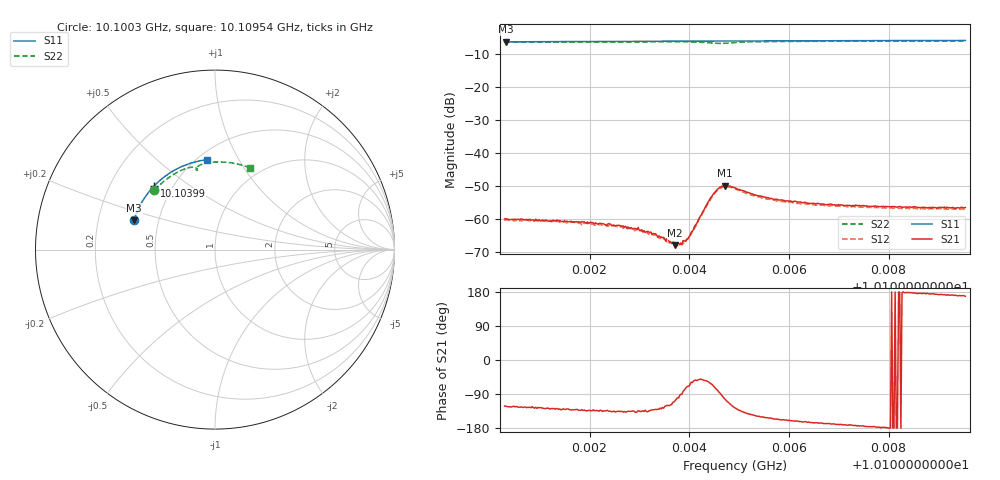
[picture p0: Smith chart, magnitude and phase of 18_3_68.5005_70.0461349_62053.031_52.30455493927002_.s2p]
#  HZ  S  RI  R  50.00
! Rohde & Schwarz Vector Network Analyzer
! Rohde-Schwarz,ZNB20-2Port,1311601062101988,3.16
! Created: UTC 3/20/2024, 5:04:34 PM
! freq[Hz]  re:S11  im:S11  re:S21  im:S21  re:S12  im:S12  re:S22  im:S22
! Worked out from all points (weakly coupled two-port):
!   401 points, 10.1003 GHz to 10.10954 GHz, reference 50 ohm
!   highest |S21| = -49.89 dB at 10.10471 GHz (marker M1); lowest = -67.9 dB at 10.10372 GHz (marker M2)
!   lowest |S11| = -6.4 dB at 10.10032 GHz (marker M3), VSWR 2.84, Z = 18.1 + j7.7 ohm
!   |S11| at or under -10 dB: nowhere
!   |S22| runs from -6.9 to -6.1 dB; largest |S21 - S12| = 0.00033
!   S11 on the Smith chart (normalised r, x): 10.1003 GHz: 0.36, +0.15; 10.10399 GHz: 0.40, +0.37; 10.10954 GHz: 0.56, +0.75
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1.0100297e10  -0.4509 0.1628  -0.000531 -0.000858  -0.000445 -0.000834  -0.3377 0.3298
1.010032e10  -0.4504 0.1641  -0.000524 -0.000859  -0.000465 -0.000861  -0.3367 0.3307
1.0101129e10  -0.4337 0.2105  -0.000591 -0.000766  -0.000488 -0.000779  -0.2999 0.3678
1.0101845e10  -0.415 0.2498  -0.000602 -0.000693  -0.000523 -0.000635  -0.2637 0.3973
1.0102677e10  -0.3889 0.2932  -0.000582 -0.000532  -0.000471 -0.000555  -0.2178 0.4266
1.0103001e10  -0.3774 0.3093  -0.000476 -0.000477  -0.000449 -0.000503  -0.1988 0.4364
1.0103278e10  -0.3673 0.3227  -0.000402 -0.000454  -0.000354 -0.000451  -0.1816 0.4444
1.0103393e10  -0.3629 0.3281  -0.000358 -0.00043  -0.000293 -0.00043  -0.1742 0.4472
1.0103717e10  -0.3501 0.343  -0.00012 -0.000384  -0.000106 -0.000403  -0.1525 0.4547
1.0103856e10  -0.3445 0.3492  1.1e-07 -0.00041  3.52e-05 -0.000426  -0.1424 0.4572
1.0103948e10  -0.3406 0.3534  0.000156 -0.000473  0.000171 -0.00045  -0.1356 0.4584
1.0103994e10  -0.3387 0.3553  0.000191 -0.000501  0.00024 -0.000451  -0.132 0.4589
1.0104087e10  -0.3347 0.3594  0.0004 -0.000585  0.000423 -0.000505  -0.1248 0.4595
1.0104457e10  -0.3186 0.3749  0.000975 -0.002  0.0011 -0.00185  -0.0989 0.4487
1.0104595e10  -0.3124 0.3804  0.000302 -0.00294  0.000559 -0.00279  -0.0998 0.4418
1.0104711e10  -0.3073 0.3851  -0.000684 -0.00313  -0.000362 -0.00306  -0.104 0.4434
1.0104919e10  -0.2977 0.3933  -0.00176 -0.00239  -0.00148 -0.00245  -0.1016 0.4568
1.0105219e10  -0.2834 0.4046  -0.00197 -0.00148  -0.00176 -0.00155  -0.0832 0.4712
1.0105589e10  -0.2655 0.4179  -0.00189 -0.000959  -0.00171 -0.00105  -0.0577 0.48
1.0106467e10  -0.2203 0.4457  -0.00168 -0.000438  -0.00156 -0.000585  0.00135 0.4879
1.0108016e10  -0.1338 0.4821  -0.00154 -9.67e-06  -0.00147 -0.000187  0.1013 0.4817
1.0109541e10  -0.0438 0.5009  -0.00147 0.000307  -0.00138 0.000135  0.1948 0.4552
